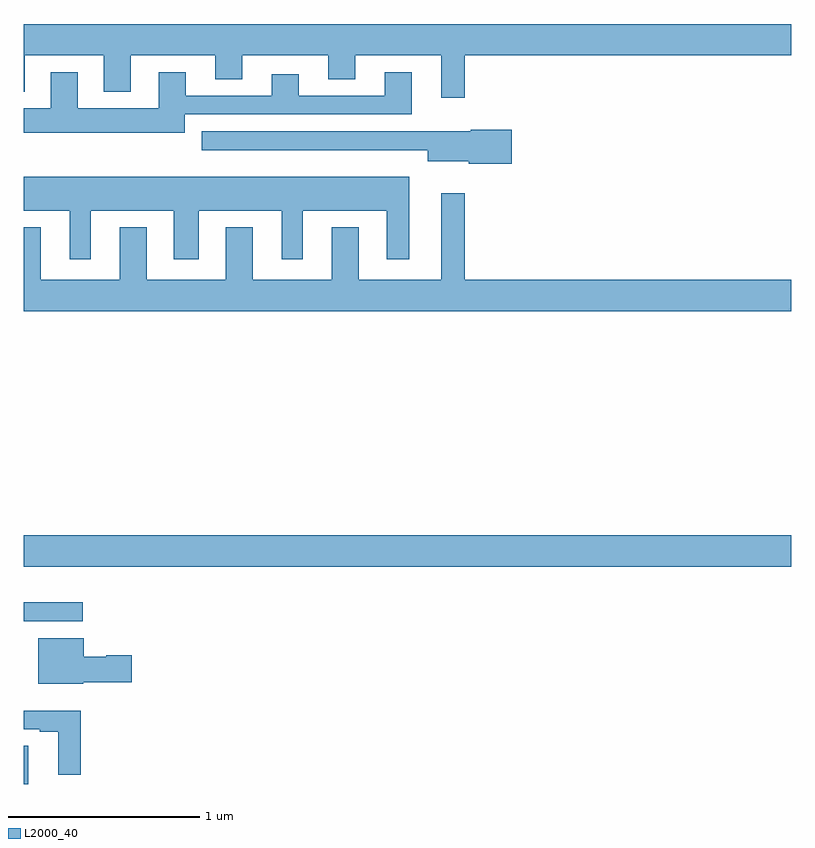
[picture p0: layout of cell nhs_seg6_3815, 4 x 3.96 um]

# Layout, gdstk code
import gdstk
lib = gdstk.Library(unit=1e-6, precision=1e-09)
def R(c, l, rs):  # rectangles x0, y0, x1, y1
    for r in rs: c.add(gdstk.rectangle(r[:2], r[2:], *l))
def P(c, l, *ps):  # polygons
    for p in ps: c.add(gdstk.Polygon(p, *l))
L2000_40 = (2000, 40)

nhs_seg6_3815 = lib.new_cell('nhs_seg6_3815')
R(nhs_seg6_3815, L2000_40, [(335,983.5,335.023,983.699), (335,984.348,335.308,984.446), (335,984.632,339,984.796)])
P(nhs_seg6_3815, L2000_40, [(337.297,987.296),(339,987.296),(339,987.46),(335,987.46),(335,987.107),(335.005,987.107),(335.005,987.296),(335.417,987.296),(335.417,987.107),(335.557,987.107),(335.557,987.296),(335.999,987.296),(335.999,987.172),(336.139,987.172),(336.139,987.296),(336.587,987.296),(336.587,987.172),(336.727,987.172),(336.727,987.296),(337.175,987.296),(337.175,987.075),(337.297,987.075)],
  [(335.839,986.991),(337.021,986.991),(337.021,987.208),(336.881,987.208),(336.881,987.087),(336.433,987.087),(336.433,987.199),(336.293,987.199),(336.293,987.087),(335.845,987.087),(335.845,987.208),(335.705,987.208),(335.705,987.022),(335.281,987.022),(335.281,987.208),(335.141,987.208),(335.141,987.022),(335,987.022),(335,986.894),(335.839,986.894)],
  [(337.543,986.91),(337.33,986.91),(337.33,986.902),(335.928,986.902),(335.928,986.801),(337.106,986.801),(337.106,986.744),(337.32,986.744),(337.32,986.732),(337.543,986.732)],
  [(335.35,986.486),(335.783,986.486),(335.783,986.235),(335.911,986.235),(335.911,986.486),(336.344,986.486),(336.344,986.235),(336.454,986.235),(336.454,986.486),(336.893,986.486),(336.893,986.235),(337.009,986.235),(337.009,986.665),(335,986.665),(335,986.486),(335.24,986.486),(335.24,986.235),(335.35,986.235)],
  [(339,986.128),(337.297,986.128),(337.297,986.578),(337.175,986.578),(337.175,986.128),(336.745,986.128),(336.745,986.401),(336.605,986.401),(336.605,986.128),(336.193,986.128),(336.193,986.401),(336.053,986.401),(336.053,986.128),(335.641,986.128),(335.641,986.401),(335.501,986.401),(335.501,986.128),(335.089,986.128),(335.089,986.401),(335,986.401),(335,985.964),(339,985.964)],
  [(335.31,984.029),(335.563,984.029),(335.563,984.171),(335.43,984.171),(335.43,984.163),(335.314,984.163),(335.314,984.259),(335.075,984.259),(335.075,984.023),(335.31,984.023)],
  [(335.297,983.881),(335,983.881),(335,983.784),(335.084,983.784),(335.084,983.772),(335.18,983.772),(335.18,983.549),(335.297,983.549)])

lib.write_gds('nhs_seg6_3815.gds')
